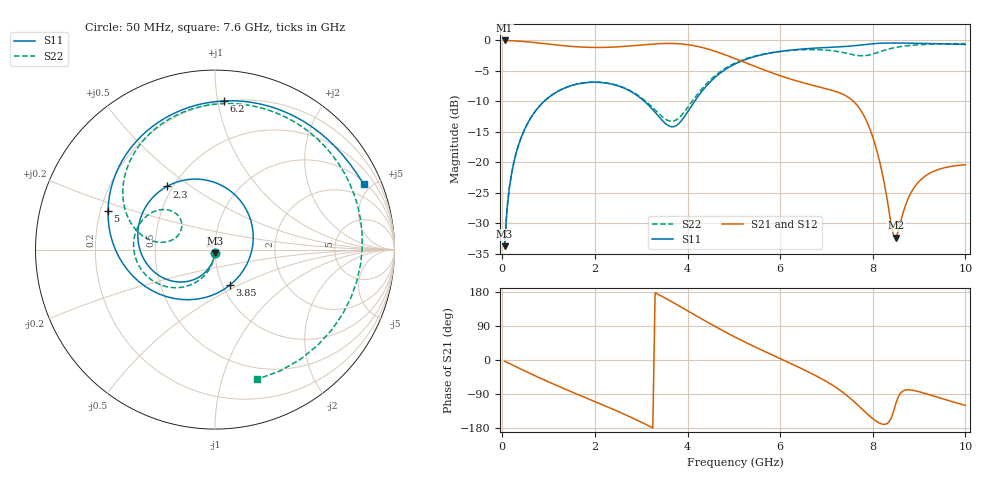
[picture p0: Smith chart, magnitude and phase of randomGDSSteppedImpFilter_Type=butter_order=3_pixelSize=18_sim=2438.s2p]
! freq	dB(S11)	phase(S11)	dB(S12)	phase(S12)
!  dB(S21)	phase(S21)	dB(S22)	phase(S22)
!S-par simulation data
#  GHz  S  DB  R 50
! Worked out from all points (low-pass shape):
!   200 points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, 50 MHz to 10 GHz, reference 50 ohm
!   highest |S21| = -0.01 dB at 50 MHz (marker M1); lowest = -32.4 dB at 8.5 GHz (marker M2)
!   |S21| within 3 dB of the highest: start of sweep to 5.033 GHz
!   lowest |S11| = -33.8 dB at 50 MHz (marker M3), VSWR 1.04, Z = 49.8 - j2.04 ohm
!   |S11| at or under -10 dB: start of sweep to 905 MHz; 3.068 GHz to 4.152 GHz (1.084 GHz wide, 30 % of centre)
!   |S22| runs from -33.8 to -0.5 dB; largest |S21 - S12| = 0
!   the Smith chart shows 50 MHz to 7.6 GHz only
!   S11 on the Smith chart (normalised r, x): 50 MHz: 1.00, -0.04; 2.3 GHz: 0.46, +0.41; 3.85 GHz: 1.08, -0.45; 5 GHz: 0.23, +0.16; 6.2 GHz: 0.20, +1.04; 7.6 GHz: 1.13, +4.50
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0.05  -33.79 -93.1  -0.01 -3.1  -0.01 -3.1  -33.78 -92.5
0.2  -21.89 -103.4  -0.05 -12.1  -0.05 -12.1  -21.88 -101.3
0.5  -14.32 -123.0  -0.21 -29.7  -0.21 -29.7  -14.31 -117.5
1.1  -8.83 -160.1  -0.69 -63.2  -0.69 -63.2  -8.81 -147.5
1.75  -6.99 161.4  -1.10 -97.0  -1.10 -97.0  -6.97 -176.3
2.3  -7.08 127.3  -1.12 -125.2  -1.12 -125.2  -7.04 161.7
2.85  -8.73 86.8  -0.85 -155.2  -0.85 -155.2  -8.62 143.1
3.4  -12.68 24.1  -0.54 171.1  -0.54 171.1  -12.17 139.8
3.85  -13.35 -67.5  -0.57 140.5  -0.57 140.5  -12.46 166.0
4.35  -7.98 -141.9  -1.23 105.3  -1.23 105.3  -7.61 168.8
5  -3.97 160.3  -2.91 62.1  -2.91 62.1  -3.81 141.5
5.05  -3.78 156.6  -3.06 58.9  -3.06 58.9  -3.64 139.1
6.2  -1.62 86.4  -6.29 -7.7  -6.29 -7.7  -1.66 77.3
6.7  -1.29 61.8  -7.37 -37.1  -7.37 -37.1  -1.51 43.3
7.25  -1.07 37.6  -8.53 -76.2  -8.53 -76.2  -1.83 -12.3
7.6  -0.87 23.7  -10.13 -110.2  -10.13 -110.2  -2.38 -72.2
7.8  -0.70 15.8  -12.22 -133.0  -12.22 -133.0  -2.52 -118.1
8  -0.54 7.6  -15.87 -154.8  -15.87 -154.8  -2.24 -165.7
8.35  -0.43 -6.8  -27.96 -163.5  -27.96 -163.5  -1.40 128.8
8.5  -0.43 -12.6  -32.38 -114.0  -32.38 -114.0  -1.15 108.6
9.2  -0.51 -37.6  -21.94 -90.8  -21.94 -90.8  -0.63 47.3
10  -0.66 -63.3  -20.41 -119.8  -20.41 -119.8  -0.53 3.7
